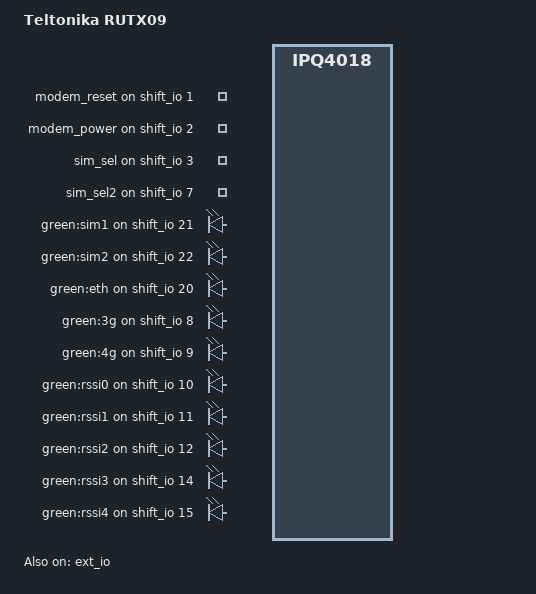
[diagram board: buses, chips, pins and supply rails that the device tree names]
// SPDX-License-Identifier: GPL-2.0-or-later OR MIT

#include "qcom-ipq4018-rutx-dsa.dtsi"

/ {
	model = "Teltonika RUTX09";
	compatible = "teltonika,rutx09";

	aliases {
		led-boot = &led_rssi0;
		led-failsafe = &led_rssi0;
		led-running = &led_rssi0;
		led-upgrade = &led_rssi0;
	};

	soc {
		gpio-export {
			compatible = "gpio-export";

			modem_reset {
				gpio-export,name = "modem_reset";
				gpio-export,output = <0>;
				gpios = <&shift_io 1 GPIO_ACTIVE_HIGH>;
			};

			modem_power {
				gpio-export,name = "modem_power";
				gpio-export,output = <1>;
				gpios = <&shift_io 2 GPIO_ACTIVE_HIGH>;
			};

			sim_sel {
				gpio-export,name = "sim_sel";
				gpio-export,output = <0>;
				gpios = <&shift_io 3 GPIO_ACTIVE_HIGH>;
			};

			sim_sel2 {
				gpio-export,name = "sim_sel2";
				gpio-export,output = <0>;
				gpios = <&shift_io 7 GPIO_ACTIVE_HIGH>;
			};
		};

		leds {
			compatible = "gpio-leds";

			led-0 {
				label = "green:sim1";
				gpios = <&shift_io 21 GPIO_ACTIVE_HIGH>;
			};

			led-1 {
				label = "green:sim2";
				gpios = <&shift_io 22 GPIO_ACTIVE_HIGH>;
			};

			led-2 {
				label = "green:eth";
				gpios = <&shift_io 20 GPIO_ACTIVE_HIGH>;
			};

			led-3 {
				label = "green:3g";
				gpios = <&shift_io 8 GPIO_ACTIVE_HIGH>;
			};

			led-4 {
				label = "green:4g";
				gpios = <&shift_io 9 GPIO_ACTIVE_HIGH>;
			};

			led_rssi0: led-5 {
				label = "green:rssi0";
				gpios = <&shift_io 10 GPIO_ACTIVE_HIGH>;
			};

			led-6 {
				label = "green:rssi1";
				gpios = <&shift_io 11 GPIO_ACTIVE_HIGH>;
			};

			led-7 {
				label = "green:rssi2";
				gpios = <&shift_io 12 GPIO_ACTIVE_HIGH>;
			};

			led-8 {
				label = "green:rssi3";
				gpios = <&shift_io 14 GPIO_ACTIVE_HIGH>;
			};

			led-9 {
				label = "green:rssi4";
				gpios = <&shift_io 15 GPIO_ACTIVE_HIGH>;
			};
		};
	};
};

&ext_io {
	status = "okay";
};
